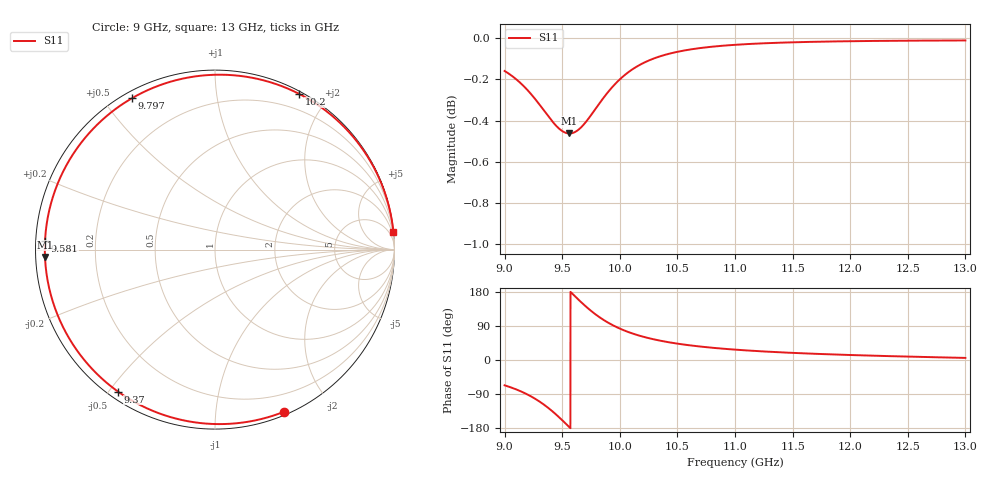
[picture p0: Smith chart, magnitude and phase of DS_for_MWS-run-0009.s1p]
! TOUCHSTONE file generated by CST DESIGN STUDIO
! Date and time: Tue Feb  4 17:56:37 2025
! Project name: C:\Work\MatlabApps\UnitCellOptimizationMatlab\CST\unitcell.cst
! Tree item: Tasks\Sweep1\SPara1\S-Parameters
! Header version: 2024
! Port assignment regex: !\s*Touchstone port\s*([0-9]+)\s*=\s*(CST MWS port|CST DES external port|CST DES block port)\s*(.+)\s* \(\"(.*)\"\)(\s*mode\s*([0-9]+))?.*
! Touchstone port assignment:
! Touchstone port 1 = CST DES external port 1 ("")
# GHz S MA R 50
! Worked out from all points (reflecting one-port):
!   4001 points, 9 GHz to 13 GHz, reference 50 ohm
!   lowest |S11| = -0.5 dB at 9.563 GHz (marker M1), VSWR 37.55, Z = 1.33 - j1.09 ohm
!   phase of S11 starts at -67 deg and turns -288 deg over the sweep
!   S11 on the Smith chart (normalised r, x): 9 GHz: 0.03, -1.52; 9.37 GHz: 0.03, -0.53; 9.581 GHz: 0.03, +0.03; 9.797 GHz: 0.03, +0.59; 10.2 GHz: 0.03, +1.68; 13 GHz: 0, +21
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9  0.9819 -66.8
9.042  0.9801 -71.0
9.108  0.9769 -78.5
9.222  0.9698 -94.8
9.3  0.9638 -109.0
9.37  0.958 -124.3
9.434  0.9531 -140.4
9.5  0.9494 -158.8
9.563  0.9481 -177.5
9.581  0.9482 177.1
9.636  0.9499 160.8
9.697  0.9536 143.5
9.747  0.9576 130.5
9.797  0.962 118.7
9.841  0.9658 109.3
9.888  0.9696 100.4
9.94  0.9734 91.6
10  0.9773 82.9
10.096  0.9822 71.4
10.201  0.9862 61.6
10.338  0.9897 51.8
10.5  0.9925 43.2
10.721  0.9947 34.8
11  0.9964 27.4
11.5  0.9978 18.8
12  0.9984 13.2
12.5  0.9987 9.0
13  0.9988 5.5
